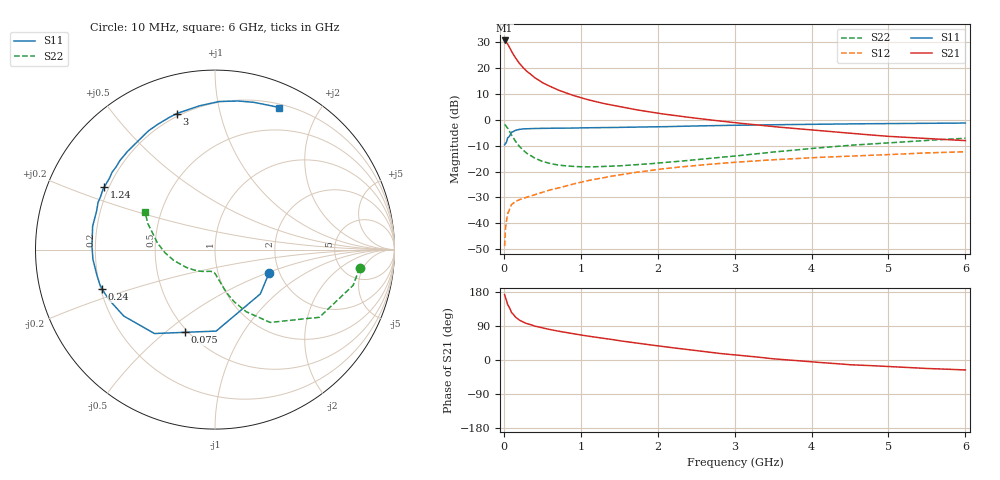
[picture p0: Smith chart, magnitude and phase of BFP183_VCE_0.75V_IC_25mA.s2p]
! Infineon Technologies  Discrete & RF Semiconductors
! BFP183
! VCE = 0.75V,  IC =  25 mA
! Common Emitter S-Parameters:  Jan 2016
# GHz  S  MA  R  50
!  f  S11  S21  S12  S22
! GHz  MAG  ANG  MAG  ANG  MAG  ANG  MAG  ANG
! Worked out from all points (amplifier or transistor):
!   210 points, 10 MHz to 6 GHz, reference 50 ohm
!   highest |S21| = 30.7 dB at 10 MHz (marker M1)
!   |S21| within 3 dB of that: start of sweep to 78.01 MHz
!   unconditionally stable (mu >= 1): start of sweep to 12.48 MHz; 341 MHz to end of sweep
!   at 185 MHz: K = 0.67, MSG = 26.9 dB, |S12| = -31.1 dB
!   at 1.52 GHz: K = 1.58, MAG = 8.6 dB, |S12| = -21.2 dB
!   at 6 GHz: K = 1.30, MAG = -1.1 dB, |S12| = -12.3 dB
!   S11 on the Smith chart (normalised r, x): 10 MHz: 1.77, -0.51; 75 MHz: 0.48, -0.59; 240 MHz: 0.21, -0.16; 1.24 GHz: 0.18, +0.25; 3 GHz: 0.19, +0.74; 6 GHz: 0.24, +1.53
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0.01  0.3282 -23.2  34.42 172.5  0.0036 79.4  0.8124 -7.2
0.02  0.3532 -44.3  33.72 165.5  0.0075 77.1  0.795 -14.5
0.05  0.4541 -89.2  29.35 145.9  0.0152 62.8  0.6929 -33.0
0.075  0.4897 -109.8  24.86 137.2  0.0189 53.2  0.5919 -41.4
0.1  0.5766 -125.8  21.17 125.2  0.023 46.8  0.5086 -52.9
0.15  0.6288 -143.9  15.93 113.2  0.0263 41.5  0.3875 -63.3
0.2  0.6536 -154.8  12.51 105.5  0.0285 40.1  0.3096 -69.8
0.24  0.6661 -160.6  10.69 101.4  0.0299 39.7  0.2695 -73.0
0.3  0.6733 -167.8  8.677 96.0  0.032 40.7  0.225 -76.8
0.4  0.6824 -175.5  6.577 89.5  0.0356 43.5  0.1827 -81.1
0.5  0.6858 178.3  5.267 84.6  0.0395 45.7  0.1574 -84.6
0.7  0.6941 169.2  3.809 76.3  0.0477 49.9  0.134 -89.6
0.9  0.6939 161.8  2.98 69.5  0.0574 51.6  0.126 -94.5
1.02  0.7025 157.5  2.632 65.5  0.063 52.2  0.1236 -98.1
1.24  0.7085 150.6  2.174 58.8  0.0734 52.1  0.1245 -103.8
1.5  0.7172 143.1  1.805 50.9  0.0859 51.4  0.1288 -110.0
2.02  0.736 128.7  1.331 36.8  0.1107 47.6  0.1469 -124.9
3  0.7874 105.7  0.884 13.4  0.1511 37.8  0.1994 -153.4
3.1  0.7893 103.8  0.853 11.6  0.1546 36.7  0.2064 -156.2
4.1  0.8269 86.9  0.619 -6.4  0.1881 26.6  0.2873 -178.7
5.1  0.8495 74.3  0.471 -18.1  0.2159 17.9  0.367 163.9
6  0.8686 65.6  0.397 -26.3  0.2416 8.6  0.4407 152.0
